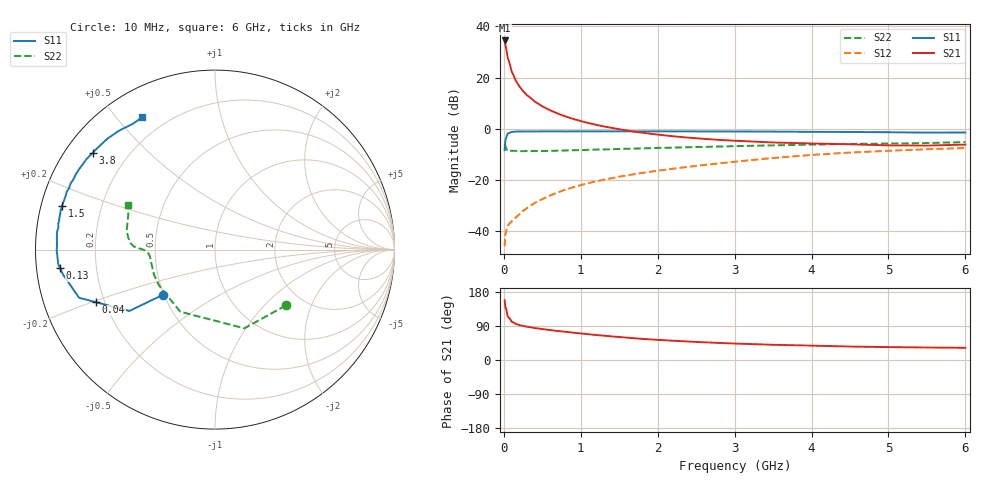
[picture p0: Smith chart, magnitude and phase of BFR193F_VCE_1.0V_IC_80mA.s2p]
! Infineon Technologies  Discrete & RF Semiconductors
! BFR193F
! VCE =  1.0 V,  IC =  80 mA
! Common Emitter S-Parameters:  Jan 2017
# GHz  S  MA  R  50
!  f  S11  S21  S12  S22
! GHz  MAG  ANG  MAG  ANG  MAG  ANG  MAG  ANG
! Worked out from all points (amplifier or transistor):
!   77 points, 10 MHz to 6 GHz, reference 50 ohm
!   highest |S21| = 34.5 dB at 10 MHz (marker M1)
!   |S21| within 3 dB of that: start of sweep to 29.15 MHz
!   unconditionally stable (mu >= 1): start of sweep to 13.05 MHz; 228.3 MHz to end of sweep
!   at 130 MHz: K = 0.80, MSG = 28.0 dB, |S12| = -35.4 dB
!   at 2.2 GHz: K = 1.15, MAG = 4.0 dB, |S12| = -15.7 dB
!   at 6 GHz: K = 1.05, MAG = -0.7 dB, |S12| = -7.6 dB
!   S11 on the Smith chart (normalised r, x): 10 MHz: 0.50, -0.29; 40 MHz: 0.17, -0.21; 130 MHz: 0.07, -0.06; 1.5 GHz: 0.06, +0.14; 3.8 GHz: 0.08, +0.35; 6 GHz: 0.12, +0.59
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0.01  0.3809 -138.9  53.27 157.6  0.005 66.6  0.5023 -38.3
0.02  0.5872 -144.4  44.31 139.8  0.0084 55.1  0.4681 -69.5
0.04  0.7257 -156.2  30.48 126.6  0.0111 45.1  0.3842 -101.2
0.05  0.8034 -160.5  24.67 114.7  0.0126 41.8  0.3966 -119.2
0.1  0.8581 -170.7  13.29 101.2  0.0152 44.2  0.3704 -147.3
0.13  0.8689 -173.1  10.71 98.5  0.0169 48.0  0.3671 -153.6
0.15  0.8769 -174.6  9.011 95.8  0.018 50.2  0.3675 -157.9
0.2  0.8784 -177.0  6.774 92.2  0.0209 56.0  0.3635 -163.0
0.25  0.8807 -178.8  5.428 89.9  0.0246 59.3  0.3625 -167.0
0.3  0.8818 -179.9  4.535 87.8  0.0277 62.1  0.3637 -169.0
0.4  0.881 177.8  3.406 84.3  0.0349 66.1  0.3637 -172.2
0.5  0.883 176.2  2.736 81.6  0.0417 68.7  0.3643 -174.0
0.7  0.8852 173.1  1.975 76.5  0.0563 72.4  0.3706 -176.2
0.9  0.8852 170.6  1.553 72.1  0.0709 73.4  0.377 -177.8
1.1  0.8847 168.3  1.287 68.0  0.086 73.8  0.3846 -178.5
1.5  0.8859 164.0  0.974 60.7  0.1146 73.4  0.4 -179.8
2.1  0.8846 158.0  0.737 52.0  0.1571 71.8  0.4219 179.1
3.1  0.8788 148.7  0.571 42.8  0.2325 67.9  0.4568 177.4
3.8  0.8692 141.7  0.522 38.8  0.2895 63.3  0.4802 173.8
4.1  0.8648 138.5  0.509 37.4  0.3121 60.9  0.4894 171.6
5.1  0.8478 127.7  0.469 33.8  0.3735 52.8  0.5129 161.6
6  0.8412 118.8  0.487 32.1  0.4182 46.3  0.5464 152.9
